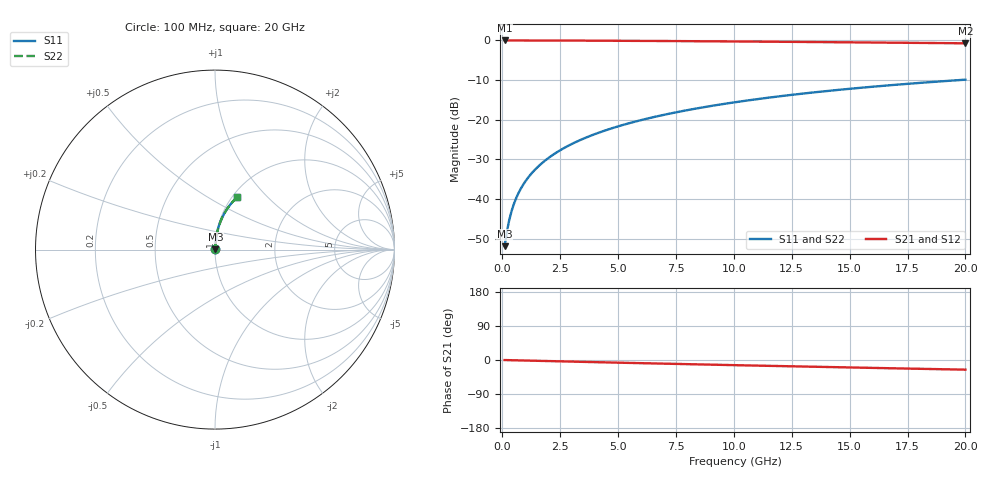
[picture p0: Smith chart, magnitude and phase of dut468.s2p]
! Touchstone file exported from HFSS 2024.1.0
!  File:  C:/UserFiles/LocalFiles/RDL_TSV_Batchsim/temp_RDL_top_468_1779677846.aedt
!  Generated:  10:59:46 AM May 25, 2026
!  Design:  RDL_top
!  Project:  temp_RDL_top_468_1779677846
!  Setup:  Setup1
!  Solution:  Sweep
! Variables:
!  dtsv = 10.80580581um
!  hbump = 3um
!  htsv = 75.04um
!  ldown = 100um
!  lrdl = 281.57um
!  p = 40
!  p1 = 56.67um
!  rhole = 1um
!  t = 450um
!  tdown = 3.915915916um
!  trdl = 4.06um
!  wdown = 15.38538539um
!  wrdl = 13.97um
# GHz S MA R 50.000000
! Terminal data exported
! Port[1] = Box2_T1
! Port[2] = Box2_T2
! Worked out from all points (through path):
!   200 points, 100 MHz to 20 GHz, reference 50 ohm
!   highest |S21| = -0.02 dB at 100 MHz (marker M1); lowest = -0.7 dB at 20 GHz (marker M2)
!   group delay of S21, straight-line fit = 3.53 ps
!   lowest |S11| = -51.9 dB at 100 MHz (marker M3), VSWR 1.01, Z = 50.2 + j0.17 ohm
!   |S11| at or under -10 dB: start of sweep to 19.77 GHz
!   |S22| runs from -51.9 to -9.9 dB; largest |S21 - S12| = 3.1e-15
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0.1  0.002538 42.0  0.9981 -0.1  0.9981 -0.1  0.002538 42.0
! Gamma 0 0 0 0
! Port Impedance 50 0 50 0
0.2  0.003889 60.6  0.9981 -0.3  0.9981 -0.3  0.003889 60.6
0.3  0.005428 69.0  0.998 -0.4  0.998 -0.4  0.005428 69.0
0.4  0.007023 73.5  0.9979 -0.6  0.9979 -0.6  0.007023 73.5
0.5  0.008635 76.3  0.9979 -0.7  0.9979 -0.7  0.008635 76.3
0.6  0.01025 78.1  0.9978 -0.9  0.9978 -0.9  0.01025 78.2
0.8  0.01349 80.5  0.9976 -1.2  0.9976 -1.2  0.01349 80.5
1.1  0.01835 82.3  0.9974 -1.6  0.9974 -1.6  0.01835 82.4
1.5  0.02484 83.6  0.997 -2.2  0.997 -2.2  0.02484 83.6
1.8  0.02972 84.1  0.9966 -2.6  0.9966 -2.6  0.02972 84.1
2.1  0.03461 84.4  0.9961 -3.0  0.9961 -3.0  0.03461 84.4
2.7  0.04442 84.6  0.9951 -3.9  0.9951 -3.9  0.04442 84.6
3.5  0.05756 84.4  0.9933 -5.0  0.9933 -5.0  0.05756 84.4
4.2  0.06909 84.1  0.9915 -5.9  0.9915 -5.9  0.06909 84.0
5  0.08231 83.5  0.9891 -7.0  0.9891 -7.0  0.08231 83.5
5.9  0.09722 82.8  0.9861 -8.3  0.9861 -8.3  0.09722 82.8
6.8  0.1122 81.9  0.9829 -9.4  0.9829 -9.4  0.1122 81.9
8.3  0.137 80.4  0.977 -11.4  0.977 -11.4  0.137 80.4
10.1  0.1667 78.5  0.9693 -13.7  0.9693 -13.7  0.1667 78.5
13.4  0.2201 74.6  0.9539 -17.8  0.9539 -17.8  0.2201 74.6
16.7  0.2712 70.8  0.937 -21.7  0.937 -21.7  0.2712 70.7
20  0.3195 66.9  0.9188 -25.5  0.9188 -25.5  0.3195 66.9
